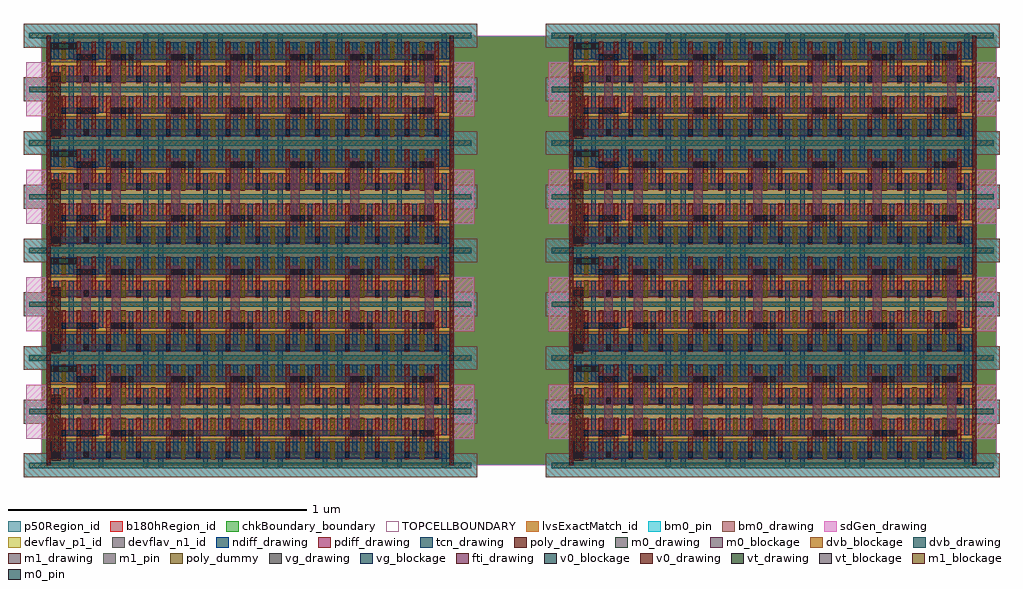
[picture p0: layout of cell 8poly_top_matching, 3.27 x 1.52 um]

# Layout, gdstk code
import gdstk
lib = gdstk.Library(unit=1e-6, precision=5e-10)
def R(c, l, rs):  # rectangles x0, y0, x1, y1
    for r in rs: c.add(gdstk.rectangle(r[:2], r[2:], *l))
def A(c, l, x, y, w, h, nx, ny, dx, dy):  # array of equal rectangles
    R(c, l, [(x+i*dx, y+j*dy, x+i*dx+w, y+j*dy+h) for i in range(nx) for j in range(ny)])
ndiff_drawing = (1, 0)
poly_drawing = (2, 0)
poly_dummy = (2, 33)
m1_drawing = (4, 0)
m1_blockage = (4, 1)
m1_pin = (4, 2)
tcn_drawing = (5, 0)
pdiff_drawing = (8, 0)
sdGen_drawing = (11, 0)
vt_drawing = (31, 0)
vt_blockage = (31, 1)
vg_drawing = (32, 0)
vg_blockage = (32, 1)
chkBoundary_boundary = (50, 0)
TOPCELLBOUNDARY = (50, 99)
m0_drawing = (55, 0)
m0_blockage = (55, 1)
m0_pin = (55, 2)
v0_drawing = (56, 0)
v0_blockage = (56, 1)
lvsExactMatch_id = (81, 434)
b180hRegion_id = (82, 137)
p50Region_id = (82, 420)
fti_drawing = (184, 0)
devflav_n1_id = (273, 102)
devflav_p1_id = (273, 103)
bm0_drawing = (366, 0)
bm0_pin = (366, 2)
dvb_drawing = (474, 0)
dvb_blockage = (474, 1)

ibmcbf000ab1d72x5 = lib.new_cell('ibmcbf000ab1d72x5')
R(ibmcbf000ab1d72x5, ndiff_drawing, [(0.007,0.023,1.343,0.079), (0.007,0.281,1.343,0.337)])
A(ibmcbf000ab1d72x5, poly_drawing, 0.043, 0.021, 0.014, 0.138, 6, 1, 0.05, 0)
A(ibmcbf000ab1d72x5, poly_drawing, 0.343, 0.021, 0.014, 0.06, 6, 2, 0.2, 0.078)
A(ibmcbf000ab1d72x5, poly_drawing, 0.393, 0.021, 0.014, 0.138, 3, 2, 0.05, 0.18)
A(ibmcbf000ab1d72x5, poly_drawing, 0.593, 0.021, 0.014, 0.138, 3, 2, 0.05, 0.18)
A(ibmcbf000ab1d72x5, poly_drawing, 0.793, 0.021, 0.014, 0.138, 3, 2, 0.05, 0.18)
A(ibmcbf000ab1d72x5, poly_drawing, 0.993, 0.021, 0.014, 0.138, 3, 2, 0.05, 0.18)
A(ibmcbf000ab1d72x5, poly_drawing, 1.193, 0.021, 0.014, 0.138, 3, 2, 0.05, 0.18)
A(ibmcbf000ab1d72x5, poly_drawing, 0.093, 0.201, 0.014, 0.138, 5, 1, 0.05, 0)
A(ibmcbf000ab1d72x5, poly_drawing, 0.343, 0.201, 0.014, 0.06, 6, 2, 0.2, 0.078)
R(ibmcbf000ab1d72x5, poly_drawing, [(-0.007,0.021,0.007,0.081), (-0.007,0.099,0.007,0.159), (-0.007,0.201,0.007,0.261), (0.043,0.201,0.057,0.261), (-0.007,0.279,0.007,0.339), (0.043,0.279,0.057,0.339)])
A(ibmcbf000ab1d72x5, poly_dummy, 0.243, 0.023, 0.014, 0.056, 11, 2, 0.1, 0.078)
A(ibmcbf000ab1d72x5, poly_dummy, 0.243, 0.203, 0.014, 0.056, 11, 2, 0.1, 0.078)
R(ibmcbf000ab1d72x5, poly_dummy, [(0.043,0.203,0.057,0.259), (0.043,0.281,0.057,0.337)])
A(ibmcbf000ab1d72x5, m1_drawing, 0.21, 0.087, 0.03, 0.222, 5, 1, 0.2, 0)
R(ibmcbf000ab1d72x5, m1_drawing, [(0.01,0.015,0.04,0.237), (0.11,0.087,0.14,0.309), (1.26,0.087,1.29,0.309)])
R(ibmcbf000ab1d72x5, m1_blockage, [(0.01,0.015,0.04,0.237)])
A(ibmcbf000ab1d72x5, m1_pin, 0.21, 0.087, 0.03, 0.222, 5, 1, 0.2, 0)
R(ibmcbf000ab1d72x5, m1_pin, [(0.11,0.087,0.14,0.309), (1.26,0.087,1.29,0.309)])
R(ibmcbf000ab1d72x5, tcn_drawing, [(0.067,-0.007,0.083,0.079), (0.167,-0.007,0.183,0.079), (0.317,-0.007,0.333,0.079), (0.367,-0.007,0.383,0.079), (0.517,-0.007,0.533,0.079), (0.567,-0.007,0.583,0.079), (0.717,-0.007,0.733,0.079), (0.767,-0.007,0.783,0.079), (0.917,-0.007,0.933,0.079), (0.967,-0.007,0.983,0.079), (1.117,-0.007,1.133,0.079), (1.167,-0.007,1.183,0.079), (1.317,-0.007,1.333,0.079), (0.017,0.023,0.033,0.157), (0.117,0.023,0.133,0.157), (0.217,0.038,0.233,0.157), (0.267,0.038,0.283,0.157), (0.417,0.038,0.433,0.157), (0.467,0.038,0.483,0.157), (0.617,0.038,0.633,0.157), (0.667,0.038,0.683,0.157), (0.817,0.038,0.833,0.157), (0.867,0.038,0.883,0.157), (1.017,0.038,1.033,0.157), (1.067,0.038,1.083,0.157), (1.217,0.038,1.233,0.157), (1.267,0.038,1.283,0.157), (0.067,0.101,0.083,0.259), (0.167,0.101,0.183,0.259), (0.317,0.101,0.333,0.259), (0.367,0.101,0.383,0.259), (0.517,0.101,0.533,0.259), (0.567,0.101,0.583,0.259), (0.717,0.101,0.733,0.259), (0.767,0.101,0.783,0.259), (0.917,0.101,0.933,0.259), (0.967,0.101,0.983,0.259), (1.117,0.101,1.133,0.259), (1.167,0.101,1.183,0.259), (1.317,0.101,1.333,0.259), (0.017,0.173,0.033,0.259), (0.117,0.203,0.133,0.337), (0.217,0.218,0.233,0.337), (0.267,0.218,0.283,0.337), (0.417,0.218,0.433,0.337), (0.467,0.218,0.483,0.337), (0.617,0.218,0.633,0.337), (0.667,0.218,0.683,0.337), (0.817,0.218,0.833,0.337), (0.867,0.218,0.883,0.337), (1.017,0.218,1.033,0.337), (1.067,0.218,1.083,0.337), (1.217,0.218,1.233,0.337), (1.267,0.218,1.283,0.337), (0.017,0.281,0.033,0.367), (0.067,0.281,0.083,0.367), (0.167,0.281,0.183,0.367), (0.317,0.281,0.333,0.367), (0.367,0.281,0.383,0.367), (0.517,0.281,0.533,0.367), (0.567,0.281,0.583,0.367), (0.717,0.281,0.733,0.367), (0.767,0.281,0.783,0.367), (0.917,0.281,0.933,0.367), (0.967,0.281,0.983,0.367), (1.117,0.281,1.133,0.367), (1.167,0.281,1.183,0.367), (1.317,0.281,1.333,0.367)])
R(ibmcbf000ab1d72x5, pdiff_drawing, [(0.007,0.101,1.343,0.157), (0.007,0.203,1.343,0.259)])
R(ibmcbf000ab1d72x5, sdGen_drawing, [(-0.075,0.09,1.425,0.27)])
R(ibmcbf000ab1d72x5, vt_drawing, [(0.017,0.026,0.033,0.046), (0.117,0.026,0.133,0.046), (0.217,0.098,0.233,0.118), (0.267,0.098,0.283,0.118), (0.417,0.098,0.433,0.118), (0.467,0.098,0.483,0.118), (0.617,0.098,0.633,0.118), (0.667,0.098,0.683,0.118), (0.817,0.098,0.833,0.118), (0.867,0.098,0.883,0.118), (1.017,0.098,1.033,0.118), (1.067,0.098,1.083,0.118), (1.217,0.098,1.233,0.118), (1.267,0.098,1.283,0.118), (0.117,0.206,0.133,0.226), (0.217,0.278,0.233,0.298), (0.267,0.278,0.283,0.298), (0.417,0.278,0.433,0.298), (0.467,0.278,0.483,0.298), (0.617,0.278,0.633,0.298), (0.667,0.278,0.683,0.298), (0.817,0.278,0.833,0.298), (0.867,0.278,0.883,0.298), (1.017,0.278,1.033,0.298), (1.067,0.278,1.083,0.298), (1.217,0.278,1.233,0.298), (1.267,0.278,1.283,0.298), (0.017,0.314,0.033,0.334), (0.067,0.314,0.083,0.334)])
R(ibmcbf000ab1d72x5, vt_blockage, [(0.017,0.026,0.033,0.046), (0.117,0.026,0.133,0.046), (0.217,0.098,0.233,0.118), (0.267,0.098,0.283,0.118), (0.417,0.098,0.433,0.118), (0.467,0.098,0.483,0.118), (0.617,0.098,0.633,0.118), (0.667,0.098,0.683,0.118), (0.817,0.098,0.833,0.118), (0.867,0.098,0.883,0.118), (1.017,0.098,1.033,0.118), (1.067,0.098,1.083,0.118), (1.217,0.098,1.233,0.118), (1.267,0.098,1.283,0.118), (0.117,0.206,0.133,0.226), (0.217,0.278,0.233,0.298), (0.267,0.278,0.283,0.298), (0.417,0.278,0.433,0.298), (0.467,0.278,0.483,0.298), (0.617,0.278,0.633,0.298), (0.667,0.278,0.683,0.298), (0.817,0.278,0.833,0.298), (0.867,0.278,0.883,0.298), (1.017,0.278,1.033,0.298), (1.067,0.278,1.083,0.298), (1.217,0.278,1.233,0.298), (1.267,0.278,1.283,0.298), (0.017,0.314,0.033,0.334), (0.067,0.314,0.083,0.334)])
A(ibmcbf000ab1d72x5, vg_drawing, 0.193, 0.026, 0.014, 0.02, 12, 2, 0.1, 0.18)
A(ibmcbf000ab1d72x5, vg_drawing, 0.043, 0.098, 0.014, 0.02, 3, 1, 0.05, 0)
A(ibmcbf000ab1d72x5, vg_drawing, 0.243, 0.098, 0.014, 0.02, 6, 2, 0.2, 0.18)
R(ibmcbf000ab1d72x5, vg_drawing, [(0.093,0.278,0.107,0.298), (0.143,0.278,0.157,0.298)])
A(ibmcbf000ab1d72x5, vg_blockage, 0.193, 0.026, 0.014, 0.02, 12, 2, 0.1, 0.18)
A(ibmcbf000ab1d72x5, vg_blockage, 0.043, 0.098, 0.014, 0.02, 3, 1, 0.05, 0)
A(ibmcbf000ab1d72x5, vg_blockage, 0.243, 0.098, 0.014, 0.02, 6, 2, 0.2, 0.18)
R(ibmcbf000ab1d72x5, vg_blockage, [(0.093,0.278,0.107,0.298), (0.143,0.278,0.157,0.298)])
R(ibmcbf000ab1d72x5, chkBoundary_boundary, [(0,0,1.35,0.36)])
R(ibmcbf000ab1d72x5, m0_drawing, [(0.008,0.026,1.317,0.046), (0.033,0.098,0.167,0.118), (0.208,0.098,1.292,0.118), (0.008,0.206,1.317,0.226), (0.083,0.278,0.167,0.298), (0.208,0.278,1.292,0.298), (0.008,0.314,0.092,0.334)])
R(ibmcbf000ab1d72x5, m0_blockage, [(0.008,0.026,1.317,0.046), (0.033,0.098,0.167,0.118), (0.208,0.098,1.292,0.118), (0.008,0.206,1.317,0.226), (0.083,0.278,0.167,0.298), (0.208,0.278,1.292,0.298)])
R(ibmcbf000ab1d72x5, m0_pin, [(0.008,0.314,0.092,0.334)])
A(ibmcbf000ab1d72x5, v0_drawing, 0.21, 0.098, 0.03, 0.02, 5, 2, 0.2, 0.18)
R(ibmcbf000ab1d72x5, v0_drawing, [(0.01,0.026,0.04,0.046), (0.11,0.098,0.14,0.118), (1.26,0.098,1.29,0.118), (0.01,0.206,0.04,0.226), (0.11,0.278,0.14,0.298), (1.26,0.278,1.29,0.298)])
A(ibmcbf000ab1d72x5, v0_blockage, 0.21, 0.098, 0.03, 0.02, 5, 2, 0.2, 0.18)
R(ibmcbf000ab1d72x5, v0_blockage, [(0.01,0.026,0.04,0.046), (0.11,0.098,0.14,0.118), (1.26,0.098,1.29,0.118), (0.01,0.206,0.04,0.226), (0.11,0.278,0.14,0.298), (1.26,0.278,1.29,0.298)])
R(ibmcbf000ab1d72x5, lvsExactMatch_id, [(0,0,1.35,0.36)])
R(ibmcbf000ab1d72x5, b180hRegion_id, [(-0.025,0,1.375,0.36)])
R(ibmcbf000ab1d72x5, p50Region_id, [(-0.025,0,1.375,0.36)])
R(ibmcbf000ab1d72x5, fti_drawing, [(-0.007,0,0.007,0.36), (1.343,0,1.357,0.36)])
R(ibmcbf000ab1d72x5, devflav_n1_id, [(0,0,1.35,0.09), (0,0.27,1.35,0.36)])
R(ibmcbf000ab1d72x5, devflav_p1_id, [(0,0.09,1.35,0.27)])
A(ibmcbf000ab1d72x5, bm0_drawing, -0.085, -0.04, 1.52, 0.08, 1, 3, 0, 0.18)
A(ibmcbf000ab1d72x5, bm0_pin, -0.085, -0.04, 1.52, 0.08, 1, 3, 0, 0.18)
A(ibmcbf000ab1d72x5, dvb_drawing, -0.0655, -0.009, 1.481, 0.018, 1, 3, 0, 0.18)
A(ibmcbf000ab1d72x5, dvb_blockage, -0.0655, -0.009, 1.481, 0.018, 1, 3, 0, 0.18)
ibmcbf000ab1d72x5.add(gdstk.Label('nc1', (1.2,0.09), layer=2, texttype=0))
ibmcbf000ab1d72x5.add(gdstk.Label('nc1', (1,0.09), layer=2, texttype=0))
ibmcbf000ab1d72x5.add(gdstk.Label('nc1', (0.8,0.09), layer=2, texttype=0))
ibmcbf000ab1d72x5.add(gdstk.Label('nc1', (0.6,0.09), layer=2, texttype=0))
ibmcbf000ab1d72x5.add(gdstk.Label('nc1', (0.4,0.09), layer=2, texttype=0))
ibmcbf000ab1d72x5.add(gdstk.Label('clk', (0.05,0.09), layer=2, texttype=0))
ibmcbf000ab1d72x5.add(gdstk.Label('clk', (0.15,0.27), layer=2, texttype=0))
ibmcbf000ab1d72x5.add(gdstk.Label('nc1', (0.2,0.27), layer=2, texttype=0))
ibmcbf000ab1d72x5.add(gdstk.Label('clk', (0.1,0.27), layer=2, texttype=0))
ibmcbf000ab1d72x5.add(gdstk.Label('nc1', (0.5,0.27), layer=2, texttype=0))
ibmcbf000ab1d72x5.add(gdstk.Label('nc1', (0.4,0.27), layer=2, texttype=0))
ibmcbf000ab1d72x5.add(gdstk.Label('nc1', (0.3,0.27), layer=2, texttype=0))
ibmcbf000ab1d72x5.add(gdstk.Label('nc1', (0.7,0.27), layer=2, texttype=0))
ibmcbf000ab1d72x5.add(gdstk.Label('nc1', (0.6,0.27), layer=2, texttype=0))
ibmcbf000ab1d72x5.add(gdstk.Label('nc1', (0.8,0.27), layer=2, texttype=0))
ibmcbf000ab1d72x5.add(gdstk.Label('nc1', (0.9,0.27), layer=2, texttype=0))
ibmcbf000ab1d72x5.add(gdstk.Label('nc1', (1,0.27), layer=2, texttype=0))
ibmcbf000ab1d72x5.add(gdstk.Label('nc1', (1.2,0.27), layer=2, texttype=0))
ibmcbf000ab1d72x5.add(gdstk.Label('nc1', (1.1,0.27), layer=2, texttype=0))
ibmcbf000ab1d72x5.add(gdstk.Label('nc1', (1.3,0.27), layer=2, texttype=0))
ibmcbf000ab1d72x5.add(gdstk.Label('clk', (0.1,0.09), layer=2, texttype=0))
ibmcbf000ab1d72x5.add(gdstk.Label('clk', (0.15,0.09), layer=2, texttype=0))
ibmcbf000ab1d72x5.add(gdstk.Label('nc1', (0.2,0.09), layer=2, texttype=0))
ibmcbf000ab1d72x5.add(gdstk.Label('nc1', (0.3,0.09), layer=2, texttype=0))
ibmcbf000ab1d72x5.add(gdstk.Label('nc1', (0.5,0.09), layer=2, texttype=0))
ibmcbf000ab1d72x5.add(gdstk.Label('nc1', (0.7,0.09), layer=2, texttype=0))
ibmcbf000ab1d72x5.add(gdstk.Label('nc1', (0.9,0.09), layer=2, texttype=0))
ibmcbf000ab1d72x5.add(gdstk.Label('nc1', (1.3,0.09), layer=2, texttype=0))
ibmcbf000ab1d72x5.add(gdstk.Label('nc1', (1.1,0.09), layer=2, texttype=0))
ibmcbf000ab1d72x5.add(gdstk.Label('clkout', (1.05,0.27), layer=2, texttype=0))
ibmcbf000ab1d72x5.add(gdstk.Label('clkout', (1.25,0.27), layer=2, texttype=0))
ibmcbf000ab1d72x5.add(gdstk.Label('clkout', (0.45,0.09), layer=2, texttype=0))
ibmcbf000ab1d72x5.add(gdstk.Label('clkout', (0.25,0.09), layer=2, texttype=0))
ibmcbf000ab1d72x5.add(gdstk.Label('clkout', (0.45,0.27), layer=2, texttype=0))
ibmcbf000ab1d72x5.add(gdstk.Label('clkout', (0.25,0.27), layer=2, texttype=0))
ibmcbf000ab1d72x5.add(gdstk.Label('clkout', (0.65,0.09), layer=2, texttype=0))
ibmcbf000ab1d72x5.add(gdstk.Label('clkout', (0.85,0.09), layer=2, texttype=0))
ibmcbf000ab1d72x5.add(gdstk.Label('clkout', (0.85,0.27), layer=2, texttype=0))
ibmcbf000ab1d72x5.add(gdstk.Label('clkout', (0.65,0.27), layer=2, texttype=0))
ibmcbf000ab1d72x5.add(gdstk.Label('clkout', (1.25,0.09), layer=2, texttype=0))
ibmcbf000ab1d72x5.add(gdstk.Label('clkout', (1.05,0.09), layer=2, texttype=0))
ibmcbf000ab1d72x5.add(gdstk.Label('clk', (0.125,0.198), layer=4, texttype=0))
ibmcbf000ab1d72x5.add(gdstk.Label('clkout', (0.225,0.198), layer=4, texttype=0))
ibmcbf000ab1d72x5.add(gdstk.Label('clkout', (0.425,0.198), layer=4, texttype=0))
ibmcbf000ab1d72x5.add(gdstk.Label('clkout', (1.275,0.198), layer=4, texttype=0))
ibmcbf000ab1d72x5.add(gdstk.Label('clkout', (0.825,0.198), layer=4, texttype=0))
ibmcbf000ab1d72x5.add(gdstk.Label('clkout', (1.025,0.198), layer=4, texttype=0))
ibmcbf000ab1d72x5.add(gdstk.Label('clkout', (0.625,0.198), layer=4, texttype=0))
ibmcbf000ab1d72x5.add(gdstk.Label('clk', (0.125,0.198), layer=4, texttype=0))
ibmcbf000ab1d72x5.add(gdstk.Label('nc1', (0.025,0.126), layer=4, texttype=0))
ibmcbf000ab1d72x5.add(gdstk.Label('clkout', (0.425,0.198), layer=4, texttype=0))
ibmcbf000ab1d72x5.add(gdstk.Label('clkout', (0.625,0.198), layer=4, texttype=0))
ibmcbf000ab1d72x5.add(gdstk.Label('clkout', (0.825,0.198), layer=4, texttype=0))
ibmcbf000ab1d72x5.add(gdstk.Label('clkout', (1.025,0.198), layer=4, texttype=0))
ibmcbf000ab1d72x5.add(gdstk.Label('clkout', (1.275,0.198), layer=4, texttype=0))
ibmcbf000ab1d72x5.add(gdstk.Label('clkout', (0.225,0.198), layer=4, texttype=0))
ibmcbf000ab1d72x5.add(gdstk.Label('clk', (0.125,0.198), layer=4, texttype=2))
ibmcbf000ab1d72x5.add(gdstk.Label('clkout', (0.225,0.198), layer=4, texttype=2))
ibmcbf000ab1d72x5.add(gdstk.Label('clkout', (0.425,0.198), layer=4, texttype=2))
ibmcbf000ab1d72x5.add(gdstk.Label('clkout', (1.275,0.198), layer=4, texttype=2))
ibmcbf000ab1d72x5.add(gdstk.Label('clkout', (0.825,0.198), layer=4, texttype=2))
ibmcbf000ab1d72x5.add(gdstk.Label('clkout', (1.025,0.198), layer=4, texttype=2))
ibmcbf000ab1d72x5.add(gdstk.Label('clkout', (0.625,0.198), layer=4, texttype=2))
ibmcbf000ab1d72x5.add(gdstk.Label('clkout', (1.225,0.0975), layer=5, texttype=0))
ibmcbf000ab1d72x5.add(gdstk.Label('clkout', (1.025,0.0975), layer=5, texttype=0))
ibmcbf000ab1d72x5.add(gdstk.Label('clkout', (0.825,0.0975), layer=5, texttype=0))
ibmcbf000ab1d72x5.add(gdstk.Label('clkout', (0.625,0.0975), layer=5, texttype=0))
ibmcbf000ab1d72x5.add(gdstk.Label('clkout', (0.425,0.0975), layer=5, texttype=0))
ibmcbf000ab1d72x5.add(gdstk.Label('nc1', (0.025,0.09), layer=5, texttype=0))
ibmcbf000ab1d72x5.add(gdstk.Label('nc1', (0.125,0.27), layer=5, texttype=0))
ibmcbf000ab1d72x5.add(gdstk.Label('clkout', (0.225,0.2775), layer=5, texttype=0))
ibmcbf000ab1d72x5.add(gdstk.Label('vssx', (0.075,0.324), layer=5, texttype=0))
ibmcbf000ab1d72x5.add(gdstk.Label('clkout', (0.475,0.2775), layer=5, texttype=0))
ibmcbf000ab1d72x5.add(gdstk.Label('clkout', (0.425,0.2775), layer=5, texttype=0))
ibmcbf000ab1d72x5.add(gdstk.Label('clkout', (0.275,0.2775), layer=5, texttype=0))
ibmcbf000ab1d72x5.add(gdstk.Label('clkout', (0.675,0.2775), layer=5, texttype=0))
ibmcbf000ab1d72x5.add(gdstk.Label('clkout', (0.625,0.2775), layer=5, texttype=0))
ibmcbf000ab1d72x5.add(gdstk.Label('clkout', (0.825,0.2775), layer=5, texttype=0))
ibmcbf000ab1d72x5.add(gdstk.Label('clkout', (0.875,0.2775), layer=5, texttype=0))
ibmcbf000ab1d72x5.add(gdstk.Label('clkout', (1.025,0.2775), layer=5, texttype=0))
ibmcbf000ab1d72x5.add(gdstk.Label('clkout', (1.225,0.2775), layer=5, texttype=0))
ibmcbf000ab1d72x5.add(gdstk.Label('clkout', (1.075,0.2775), layer=5, texttype=0))
ibmcbf000ab1d72x5.add(gdstk.Label('clkout', (1.275,0.2775), layer=5, texttype=0))
ibmcbf000ab1d72x5.add(gdstk.Label('nc1', (0.125,0.09), layer=5, texttype=0))
ibmcbf000ab1d72x5.add(gdstk.Label('vssx', (0.075,0.036), layer=5, texttype=0))
ibmcbf000ab1d72x5.add(gdstk.Label('clkout', (0.225,0.0975), layer=5, texttype=0))
ibmcbf000ab1d72x5.add(gdstk.Label('vssx', (0.175,0.036), layer=5, texttype=0))
ibmcbf000ab1d72x5.add(gdstk.Label('clkout', (0.275,0.0975), layer=5, texttype=0))
ibmcbf000ab1d72x5.add(gdstk.Label('clkout', (0.475,0.0975), layer=5, texttype=0))
ibmcbf000ab1d72x5.add(gdstk.Label('clkout', (0.675,0.0975), layer=5, texttype=0))
ibmcbf000ab1d72x5.add(gdstk.Label('clkout', (0.875,0.0975), layer=5, texttype=0))
ibmcbf000ab1d72x5.add(gdstk.Label('clkout', (1.275,0.0975), layer=5, texttype=0))
ibmcbf000ab1d72x5.add(gdstk.Label('clkout', (1.075,0.0975), layer=5, texttype=0))
ibmcbf000ab1d72x5.add(gdstk.Label('vssx', (0.025,0.324), layer=5, texttype=0))
ibmcbf000ab1d72x5.add(gdstk.Label('vssx', (1.325,0.324), layer=5, texttype=0))
ibmcbf000ab1d72x5.add(gdstk.Label('vcc', (1.325,0.18), layer=5, texttype=0))
ibmcbf000ab1d72x5.add(gdstk.Label('vssx', (1.325,0.036), layer=5, texttype=0))
ibmcbf000ab1d72x5.add(gdstk.Label('vssx', (1.175,0.324), layer=5, texttype=0))
ibmcbf000ab1d72x5.add(gdstk.Label('vcc', (1.175,0.18), layer=5, texttype=0))
ibmcbf000ab1d72x5.add(gdstk.Label('vssx', (1.175,0.036), layer=5, texttype=0))
ibmcbf000ab1d72x5.add(gdstk.Label('vssx', (1.125,0.324), layer=5, texttype=0))
ibmcbf000ab1d72x5.add(gdstk.Label('vcc', (1.125,0.18), layer=5, texttype=0))
ibmcbf000ab1d72x5.add(gdstk.Label('vssx', (1.125,0.036), layer=5, texttype=0))
ibmcbf000ab1d72x5.add(gdstk.Label('vssx', (0.975,0.324), layer=5, texttype=0))
ibmcbf000ab1d72x5.add(gdstk.Label('vcc', (0.975,0.18), layer=5, texttype=0))
ibmcbf000ab1d72x5.add(gdstk.Label('vssx', (0.975,0.036), layer=5, texttype=0))
ibmcbf000ab1d72x5.add(gdstk.Label('vssx', (0.925,0.324), layer=5, texttype=0))
ibmcbf000ab1d72x5.add(gdstk.Label('vcc', (0.925,0.18), layer=5, texttype=0))
ibmcbf000ab1d72x5.add(gdstk.Label('vssx', (0.925,0.036), layer=5, texttype=0))
ibmcbf000ab1d72x5.add(gdstk.Label('vssx', (0.775,0.324), layer=5, texttype=0))
ibmcbf000ab1d72x5.add(gdstk.Label('vcc', (0.775,0.18), layer=5, texttype=0))
ibmcbf000ab1d72x5.add(gdstk.Label('vssx', (0.775,0.036), layer=5, texttype=0))
ibmcbf000ab1d72x5.add(gdstk.Label('vssx', (0.725,0.324), layer=5, texttype=0))
ibmcbf000ab1d72x5.add(gdstk.Label('vcc', (0.725,0.18), layer=5, texttype=0))
ibmcbf000ab1d72x5.add(gdstk.Label('vssx', (0.725,0.036), layer=5, texttype=0))
ibmcbf000ab1d72x5.add(gdstk.Label('vssx', (0.575,0.324), layer=5, texttype=0))
ibmcbf000ab1d72x5.add(gdstk.Label('vcc', (0.575,0.18), layer=5, texttype=0))
ibmcbf000ab1d72x5.add(gdstk.Label('vssx', (0.575,0.036), layer=5, texttype=0))
ibmcbf000ab1d72x5.add(gdstk.Label('vssx', (0.525,0.324), layer=5, texttype=0))
ibmcbf000ab1d72x5.add(gdstk.Label('vcc', (0.525,0.18), layer=5, texttype=0))
ibmcbf000ab1d72x5.add(gdstk.Label('vssx', (0.525,0.036), layer=5, texttype=0))
ibmcbf000ab1d72x5.add(gdstk.Label('vssx', (0.375,0.324), layer=5, texttype=0))
ibmcbf000ab1d72x5.add(gdstk.Label('vcc', (0.375,0.18), layer=5, texttype=0))
ibmcbf000ab1d72x5.add(gdstk.Label('vssx', (0.375,0.036), layer=5, texttype=0))
ibmcbf000ab1d72x5.add(gdstk.Label('vssx', (0.325,0.324), layer=5, texttype=0))
ibmcbf000ab1d72x5.add(gdstk.Label('vcc', (0.325,0.18), layer=5, texttype=0))
ibmcbf000ab1d72x5.add(gdstk.Label('vssx', (0.325,0.036), layer=5, texttype=0))
ibmcbf000ab1d72x5.add(gdstk.Label('vssx', (0.175,0.324), layer=5, texttype=0))
ibmcbf000ab1d72x5.add(gdstk.Label('vcc', (0.175,0.18), layer=5, texttype=0))
ibmcbf000ab1d72x5.add(gdstk.Label('vcc', (0.075,0.18), layer=5, texttype=0))
ibmcbf000ab1d72x5.add(gdstk.Label('vcc', (0.025,0.216), layer=5, texttype=0))
ibmcbf000ab1d72x5.add(gdstk.Label('vssx', (0.675,0.36), layer=366, texttype=0))
ibmcbf000ab1d72x5.add(gdstk.Label('vcc', (0.675,0.18), layer=366, texttype=0))
ibmcbf000ab1d72x5.add(gdstk.Label('vssx', (0.675,0), layer=366, texttype=0))
ibmcbf000ab1d72x5.add(gdstk.Label('vcc', (0.675,0.18), layer=366, texttype=0))
ibmcbf000ab1d72x5.add(gdstk.Label('vssx', (0.675,0), layer=366, texttype=0))
ibmcbf000ab1d72x5.add(gdstk.Label('vssx', (0.675,0.36), layer=366, texttype=0))
ibmcbf000ab1d72x5.add(gdstk.Label('vssx', (0.05,0.324), layer=55, texttype=2))
ibmcbf000ab1d72x5.add(gdstk.Label('vssx', (0.05,0.324), layer=55, texttype=0))
ibmcbf000ab1d72x5.add(gdstk.Label('vssx', (0.05,0.324), layer=55, texttype=0))
ibmcbf000ab1d72x5.add(gdstk.Label('clk', (0.125,0.288), layer=55, texttype=0))
ibmcbf000ab1d72x5.add(gdstk.Label('clk', (0.1,0.108), layer=55, texttype=0))
ibmcbf000ab1d72x5.add(gdstk.Label('clkout', (0.75,0.288), layer=55, texttype=0))
ibmcbf000ab1d72x5.add(gdstk.Label('nc1', (0.6625,0.036), layer=55, texttype=0))
ibmcbf000ab1d72x5.add(gdstk.Label('nc1', (0.6625,0.216), layer=55, texttype=0))
ibmcbf000ab1d72x5.add(gdstk.Label('clkout', (0.75,0.108), layer=55, texttype=0))
ibmcbf000ab1d72x5.add(gdstk.Label('vcc', (0.675,0.18), layer=366, texttype=2))
ibmcbf000ab1d72x5.add(gdstk.Label('vssx', (0.675,0), layer=366, texttype=2))
ibmcbf000ab1d72x5.add(gdstk.Label('vssx', (0.675,0.36), layer=366, texttype=2))

c_8poly_top_matching = lib.new_cell('8poly_top_matching')
R(c_8poly_top_matching, chkBoundary_boundary, [(0,0,3.2,1.44)])
R(c_8poly_top_matching, TOPCELLBOUNDARY, [(0,0,3.2,1.44)])
R(c_8poly_top_matching, b180hRegion_id, [(0,0,3.2,1.44)])
R(c_8poly_top_matching, p50Region_id, [(-0.0005,0,3.2,1.44)])
c_8poly_top_matching.add(gdstk.Reference(ibmcbf000ab1d72x5, (1.775,0)))
c_8poly_top_matching.add(gdstk.Reference(ibmcbf000ab1d72x5, (1.775,0.36)))
c_8poly_top_matching.add(gdstk.Reference(ibmcbf000ab1d72x5, (1.775,0.72)))
c_8poly_top_matching.add(gdstk.Reference(ibmcbf000ab1d72x5, (1.775,1.08)))
c_8poly_top_matching.add(gdstk.Reference(ibmcbf000ab1d72x5, (0.025,0)))
c_8poly_top_matching.add(gdstk.Reference(ibmcbf000ab1d72x5, (0.025,0.36)))
c_8poly_top_matching.add(gdstk.Reference(ibmcbf000ab1d72x5, (0.025,0.72)))
c_8poly_top_matching.add(gdstk.Reference(ibmcbf000ab1d72x5, (0.025,1.08)))

lib.write_gds('8poly_top_matching.gds')
